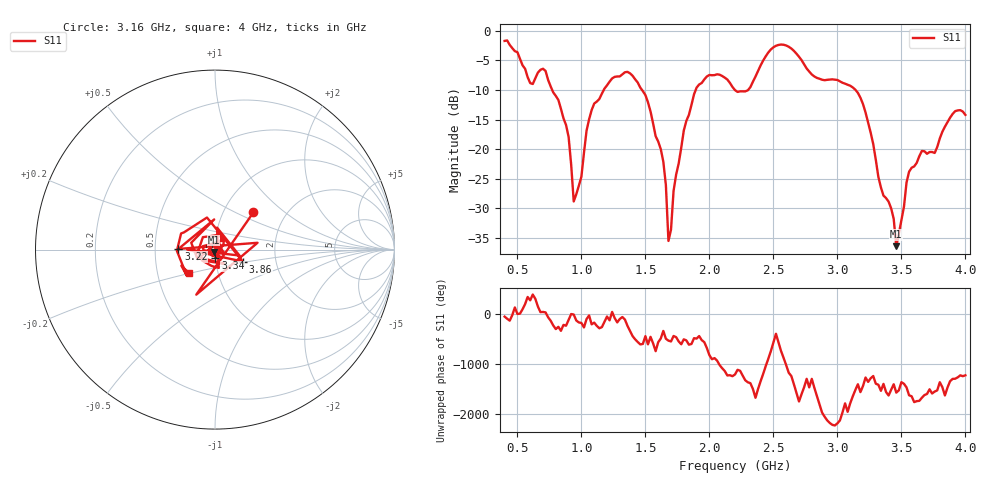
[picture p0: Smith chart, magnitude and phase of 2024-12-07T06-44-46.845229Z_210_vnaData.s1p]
!Created with skrf (http://scikit-rf.org).
# Hz S RI R 50.0
!freq ReS11 ImS11
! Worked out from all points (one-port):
!   181 points, 400 MHz to 4 GHz, reference 50 ohm
!   lowest |S11| = -36.4 dB at 3.46 GHz (marker M1), VSWR 1.03, Z = 49.2 - j1.25 ohm
!   |S11| at or under -10 dB: 771.7 MHz to 1.175 GHz (403.2 MHz wide, 41.4 % of centre); 1.473 GHz to 1.893 GHz (419.7 MHz wide, 24.9 % of centre); 3.142 GHz to end of sweep (the widest 3 of 4)
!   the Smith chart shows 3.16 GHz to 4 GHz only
!   S11 on the Smith chart (normalised r, x): 3.16 GHz: 1.38, +0.63; 3.22 GHz: 0.66, +0.01; 3.34 GHz: 1.00, -0.10; 3.86 GHz: 1.35, -0.19; 4 GHz: 0.73, -0.20
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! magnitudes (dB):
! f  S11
! 400 MHz  -1.7
! 600 MHz  -8.8
! 720 MHz  -6.8
! 860 MHz  -14.8
! 900 MHz  -17.9
! 940 MHz  -28.8
! 1.08 GHz  -13.4
! 1.3 GHz  -7.7
! 1.52 GHz  -12.1
! 1.64 GHz  -22.1
! 1.66 GHz  -26.1
! 1.68 GHz  -35.5
! 1.76 GHz  -22.4
! 1.9 GHz  -9.6
! 2.06 GHz  -7.4
! 2.2 GHz  -10.0
! 2.3 GHz  -10.1
! 2.5 GHz  -2.8
! 2.66 GHz  -3.4
! 3.1 GHz  -9.3
! 3.16 GHz  -10.5
! 3.22 GHz  -13.8
! 3.34 GHz  -26.5
! 3.42 GHz  -30.0
! 3.46 GHz  -36.4
! 3.56 GHz  -23.8
! 3.86 GHz  -15.4
! 4 GHz  -14.2
